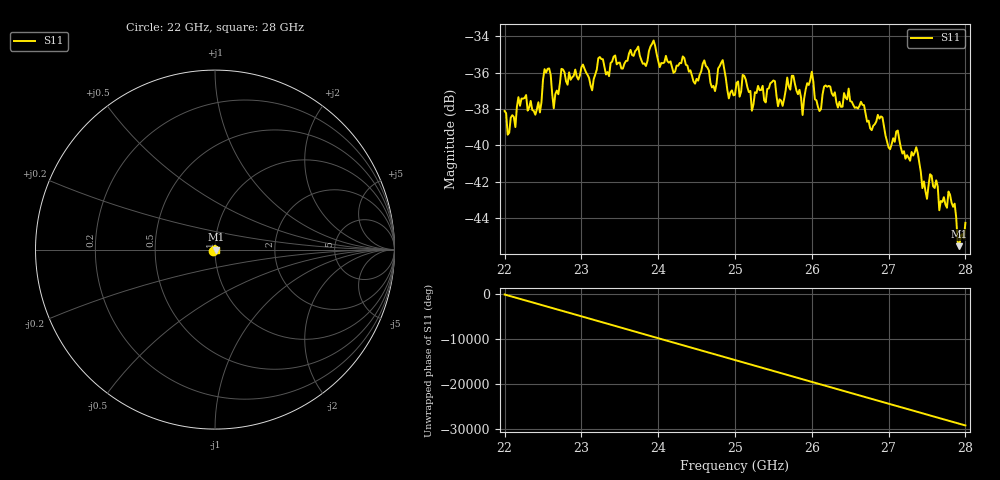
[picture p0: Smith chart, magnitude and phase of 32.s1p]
#  HZ  S  RI  R  50.00
! Rohde & Schwarz ZVA40 4Ports - Version 3.90 - 1145.1110k42 SN: 100403
! Date: 2023-10-04 06:10:09
! Measurement: S12
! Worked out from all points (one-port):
!   301 points, 22 GHz to 28 GHz, reference 50 ohm
!   lowest |S11| = -45.5 dB at 27.92 GHz (marker M1), VSWR 1.01, Z = 50.5 - j0.0358 ohm
!   |S11| at or under -10 dB: start of sweep to end of sweep
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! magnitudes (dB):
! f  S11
! 22 GHz  -38.1
! 22.46 GHz  -38.2
! 22.58 GHz  -35.8
! 22.64 GHz  -38.0
! 22.76 GHz  -35.8
! 23.14 GHz  -37.0
! 23.22 GHz  -35.2
! 23.5 GHz  -35.4
! 23.94 GHz  -34.2
! 24.26 GHz  -35.6
! 24.74 GHz  -37.0
! 24.84 GHz  -35.3
! 25 GHz  -37.2
! 25.62 GHz  -37.8
! 25.76 GHz  -36.2
! 25.88 GHz  -38.3
! 26 GHz  -35.9
! 26.1 GHz  -38.1
! 26.18 GHz  -36.7
! 26.5 GHz  -37.6
! 27.26 GHz  -40.7
! 27.36 GHz  -40.1
! 27.5 GHz  -42.9
! 27.62 GHz  -41.9
! 27.66 GHz  -43.6
! 27.78 GHz  -42.5
! 27.92 GHz  -45.5
! 28 GHz  -44.3
